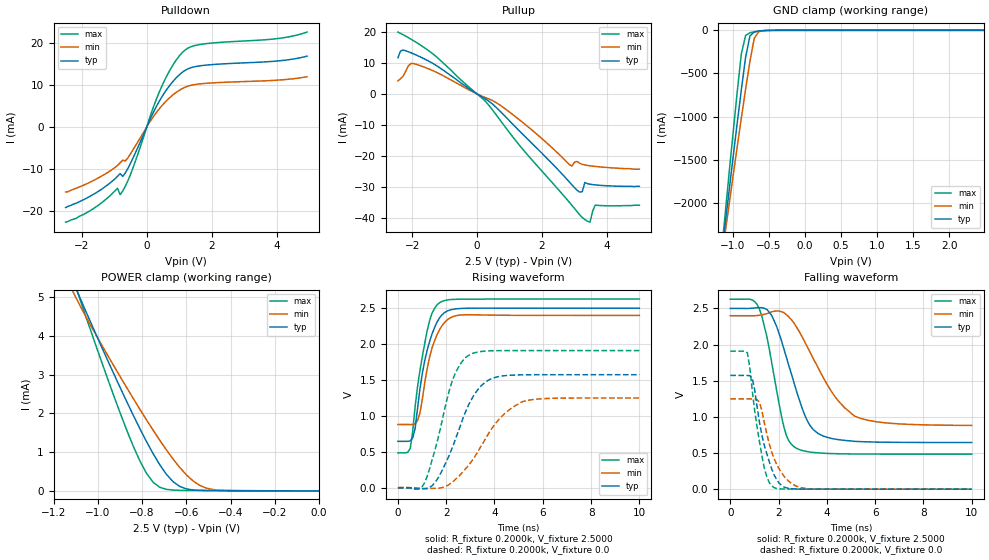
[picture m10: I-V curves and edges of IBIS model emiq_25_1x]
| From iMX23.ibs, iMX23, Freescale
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|   Model emiq_25_1x
[Model]  emiq_25_1x
Model_type I/O
Polarity   Non-Inverting
Enable   Active-Low
Vinl =   0.5000V
Vinh =   2.0000V
Vmeas =  1.2500V
Cref =   5.0000pF
Rref =   0.2000k
Vref =   1.2500V
C_comp   3.0000pF   2.0000pF   4.0000pF
[Temperature Range]   50.0000   100.0000   0.0
[Voltage Range]   2.5000V   2.3000V   2.7000V
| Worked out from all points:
|   slope of the pulldown table from 0 to 0.375 V, typ, clamps not added: 62.6 ohm
|   slope of the pullup table from 0 to 0.375 V, typ, clamps not added: 154 ohm
|   GND clamp passes 1 mA (typ) near -0.51 V on its own axis
|   POWER clamp passes 1 mA (typ) near -0.75 V on its own axis
|   rising waveform, R_fixture 0.2000k, V_fixture 2.5000: 20-80 % time 619ps typ, 591ps min, 571ps max; typ from 0.645 V to 2.5 V
|   rising waveform, R_fixture 0.2000k, V_fixture 0.0: 20-80 % time 1.16ns typ, 1.55ns min, 888ps max; typ from 0 V to 1.57 V
|   falling waveform, R_fixture 0.2000k, V_fixture 2.5000: 20-80 % time 1.05ns typ, 1.58ns min, 734ps max; typ from 2.5 V to 0.645 V
|   falling waveform, R_fixture 0.2000k, V_fixture 0.0: 20-80 % time 622ps typ, 721ps min, 499ps max; typ from 1.57 V to 0 V
[Pulldown]
|Voltage   I(typ)   I(min)   I(max)
-2.5V     -19.2mA    -15.5mA    -22.7mA
-1.62V    -15.96mA   -12.66mA   -19.35mA
-900mV    -11.77mA   -9.16mA    -14.59mA
-820mV    -11.1mA    -8.553mA   -16.14mA
-740mV    -11.77mA   -7.901mA   -15.27mA
-580mV    -9.883mA   -7.346mA   -12.82mA
460mV     7.107mA    5.026mA    9.645mA
860mV     11.33mA    7.98mA     15.42mA
1.18V     13.51mA    9.492mA    18.36mA
1.74V     14.7mA     10.37mA    19.8mA
3.98V     15.73mA    11.16mA    21.06mA
4.94V     16.91mA    12mA       22.65mA
[Pullup]
|Voltage   I(typ)   I(min)   I(max)
-2.44V    11.67mA    4.21mA     19.91mA
-2.28V    14.15mA    5.73mA     19.06mA
-2.04V    13.26mA    9.81mA     17.65mA
-1.32V    9.563mA    7.307mA    12.54mA
520mV     -3.67mA    -2.374mA   -5.75mA
2.84V     -28.27mA   -22.66mA   -34.81mA
3.08V     -30.95mA   -21.7mA    -37.84mA
3.24V     -31.44mA   -22.64mA   -39.72mA
3.32V     -28.47mA   -22.83mA   -40.4mA
3.48V     -29.03mA   -23.11mA   -41.25mA
3.64V     -29.25mA   -23.31mA   -35.75mA
5V        -29.7mA    -24.2mA    -35.8mA
[GND_clamp]
|Voltage   I(typ)   I(min)   I(max)
-2.5V     -12.41A    -10.95A    -14.57A
-1.12V    -2.367A    -2.45A     -2.274A
-1.06V    -1.94A     -2.088A    -1.754A
-1V       -1.517A    -1.728A    -1.242A
-940mV    -1.101A    -1.372A    -744.2mA
-880mV    -695mA     -1.022A    -275.6mA
-820mV    -311.5mA   -681.4mA   -59.5mA
-760mV    -64.75mA   -357.6mA   -27.97mA
-700mV    -17.65mA   -92.52mA   -17.85mA
-640mV    -7.537mA   -18.27mA   -10.66mA
-580mV    -3.305mA   -4.101mA   -5.33mA
2.48V     -274.1nA   1.923uA    -3.889uA
[POWER_clamp]
|Voltage   I(typ)   I(min)   I(max)
-2.49V    5.389A     5.778A     4.954A
-1.11V    5.374mA    5.109mA    5.434mA
-1.08V    4.972mA    4.772mA    4.93mA
-960mV    3.424mA    3.541mA    2.963mA
-870mV    2.312mA    2.669mA    1.579mA
-810mV    1.608mA    2.107mA    776.3uA
-750mV    960.5uA    1.566mA    223.8uA
-690mV    429.1uA    1.058mA    40.21uA
-630mV    116.7uA    607uA      16.05uA
-570mV    24.87uA    259.9uA    12.61uA
-510mV    10.08uA    73.37uA    10.96uA
0V        264.6pA    743pA      131.6pA
[Ramp]
| variable   typ   min   max
dV/dt_r  0.9441/1.1505n   0.7494/1.5402n   1.1459/0.8783n
dV/dt_f  1.1128/1.0432n   0.9052/1.5299n   1.3013/0.7306n
R_load = 0.2000k
[Rising Waveform]
R_fixture= 0.2000k
V_fixture= 2.5000
|time   V(typ)   V(min)   V(max)
0s        645.2mV    879.7mV    484.7mV
510ps     651.3mV    879.3mV    546.4mV
710ps     819.4mV    891mV      1.122V
810ps     1.096V     933.2mV    1.401V
1.01ns    1.591V     1.229V     1.825V
1.31ns    2.034V     1.815V     2.325V
1.72ns    2.364V     2.199V     2.575V
2.12ns    2.471V     2.357V     2.618V
2.63ns    2.497V     2.406V     2.625V
10ns      2.5V       2.399V     2.627V
[Rising Waveform]
R_fixture= 0.2000k
V_fixture= 0.0
|time   V(typ)   V(min)   V(max)
0s        0V         0V         0V
810ps     -17.96mV   -4.159mV   -18.69mV
1.11ns    -12.73mV   -15.02mV   71.29mV
1.62ns    111.1mV    -7.765mV   633.2mV
2.22ns    529.7mV    68.47mV    1.456V
2.93ns    1.156V     312.6mV    1.843V
3.74ns    1.496V     746.1mV    1.905V
4.44ns    1.56V      1.039V     1.909V
5.15ns    1.572V     1.197V     1.91V
10ns      1.573V     1.249V     1.91V
[Falling Waveform]
R_fixture= 0.2000k
V_fixture= 2.5000
|time   V(typ)   V(min)   V(max)
0s        2.5V       2.399V     2.627V
910ps     2.504V     2.398V     2.617V
1.21ns    2.51V      2.405V     2.489V
1.72ns    2.4V       2.453V     1.745V
2.22ns    1.942V     2.441V     862mV
2.73ns    1.371V     2.25V      568.2mV
3.43ns    826.4mV    1.81V      508.3mV
4.34ns    692.7mV    1.279V     491mV
5.15ns    661.6mV    1.011V     486.5mV
10ns      645.3mV    881.8mV    484.7mV
[Falling Waveform]
R_fixture= 0.2000k
V_fixture= 0.0
|time   V(typ)   V(min)   V(max)
0s        1.573V     1.249V     1.91V
710ps     1.573V     1.249V     1.885V
910ps     1.538V     1.249V     1.367V
1.21ns    924.6mV    1.201V     656.3mV
1.41ns    604.5mV    918.2mV    291mV
1.62ns    375.9mV    620.2mV    88.65mV
1.82ns    195.1mV    418.5mV    20.71mV
2.32ns    19.44mV    141.8mV    1.781mV
3.03ns    1.594mV    15.02mV    696.5uV
10ns      1.172uV    9.814uV    956.4nV
